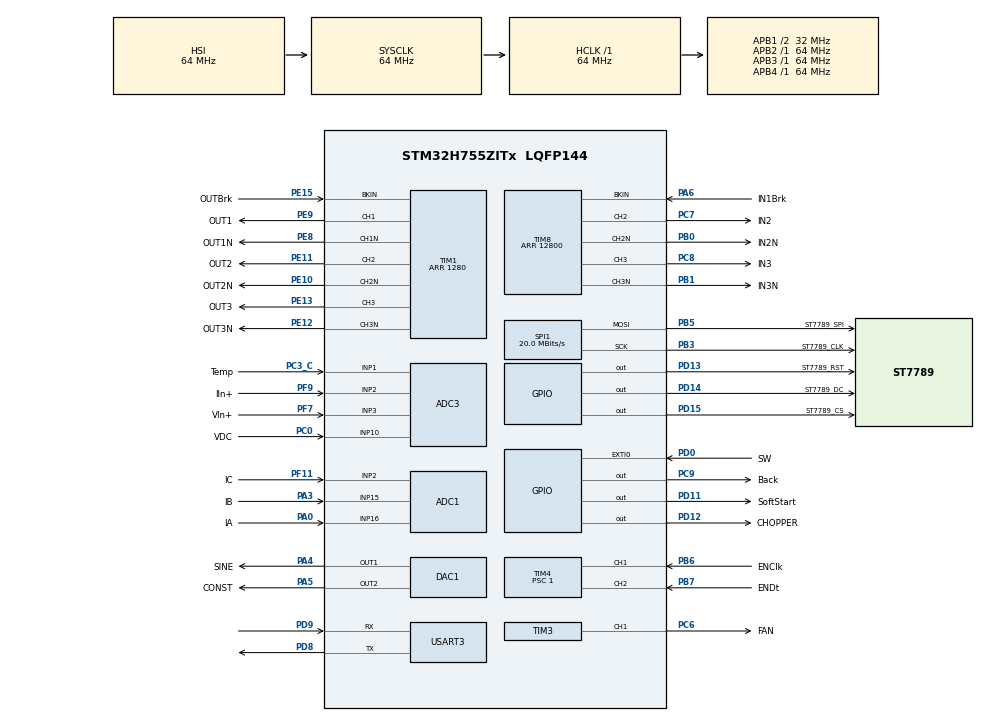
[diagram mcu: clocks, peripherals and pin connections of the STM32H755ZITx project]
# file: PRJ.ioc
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ADC1.Channel-1\#ChannelRegularConversion=ADC_CHANNEL_16
ADC1.Channel-2\#ChannelRegularConversion=ADC_CHANNEL_15
ADC1.Channel-3\#ChannelRegularConversion=ADC_CHANNEL_2
ADC1.ClockPrescalerADC3=ADC_CLOCK_ASYNC_DIV2
ADC1.ContinuousConvMode=ENABLE
ADC1.ConversionDataManagement=ADC_CONVERSIONDATA_DMA_CIRCULAR
ADC1.EOCSelection=ADC_EOC_SEQ_CONV
ADC1.ExternalTrigConv=ADC_EXTERNALTRIG_T1_TRGO
ADC1.NbrOfConversion=3
ADC1.NbrOfConversionFlag=1
ADC1.OffsetNumber-1\#ChannelRegularConversion=ADC_OFFSET_NONE
ADC1.OffsetNumber-2\#ChannelRegularConversion=ADC_OFFSET_NONE
ADC1.OffsetNumber-3\#ChannelRegularConversion=ADC_OFFSET_NONE
ADC1.OffsetSignedSaturation-1\#ChannelRegularConversion=DISABLE
ADC1.OffsetSignedSaturation-2\#ChannelRegularConversion=DISABLE
ADC1.OffsetSignedSaturation-3\#ChannelRegularConversion=DISABLE
ADC1.Overrun=ADC_OVR_DATA_OVERWRITTEN
ADC1.Rank-1\#ChannelRegularConversion=1
ADC1.Rank-2\#ChannelRegularConversion=2
ADC1.Rank-3\#ChannelRegularConversion=3
ADC1.SamplingTime-1\#ChannelRegularConversion=ADC_SAMPLETIME_810CYCLES_5
ADC1.SamplingTime-2\#ChannelRegularConversion=ADC_SAMPLETIME_810CYCLES_5
ADC1.SamplingTime-3\#ChannelRegularConversion=ADC_SAMPLETIME_810CYCLES_5
ADC1.master=1
ADC3.Channel-1\#ChannelRegularConversion=ADC_CHANNEL_3
ADC3.Channel-2\#ChannelRegularConversion=ADC_CHANNEL_2
ADC3.Channel-3\#ChannelRegularConversion=ADC_CHANNEL_10
ADC3.Channel-4\#ChannelRegularConversion=ADC_CHANNEL_1
ADC3.ClockPrescalerADC3=ADC_CLOCK_ASYNC_DIV2
ADC3.ContinuousConvMode=ENABLE
ADC3.ConversionDataManagement=ADC_CONVERSIONDATA_DMA_CIRCULAR
ADC3.EOCSelection=ADC_EOC_SEQ_CONV
ADC3.ExternalTrigConv=ADC_EXTERNALTRIG_T1_TRGO
ADC3.NbrOfConversion=4
ADC3.NbrOfConversionFlag=1
ADC3.OffsetNumber-1\#ChannelRegularConversion=ADC_OFFSET_NONE
ADC3.OffsetNumber-2\#ChannelRegularConversion=ADC_OFFSET_NONE
ADC3.OffsetNumber-3\#ChannelRegularConversion=ADC_OFFSET_NONE
ADC3.OffsetNumber-4\#ChannelRegularConversion=ADC_OFFSET_NONE
ADC3.OffsetSignedSaturation-1\#ChannelRegularConversion=DISABLE
ADC3.OffsetSignedSaturation-2\#ChannelRegularConversion=DISABLE
ADC3.OffsetSignedSaturation-3\#ChannelRegularConversion=DISABLE
ADC3.OffsetSignedSaturation-4\#ChannelRegularConversion=DISABLE
ADC3.Overrun=ADC_OVR_DATA_OVERWRITTEN
ADC3.Rank-1\#ChannelRegularConversion=1
ADC3.Rank-2\#ChannelRegularConversion=2
ADC3.Rank-3\#ChannelRegularConversion=3
ADC3.Rank-4\#ChannelRegularConversion=4
ADC3.SamplingTime-1\#ChannelRegularConversion=ADC_SAMPLETIME_810CYCLES_5
ADC3.SamplingTime-2\#ChannelRegularConversion=ADC_SAMPLETIME_810CYCLES_5
ADC3.SamplingTime-3\#ChannelRegularConversion=ADC_SAMPLETIME_810CYCLES_5
ADC3.SamplingTime-4\#ChannelRegularConversion=ADC_SAMPLETIME_810CYCLES_5
Bdma.ADC3.0.Direction=DMA_PERIPH_TO_MEMORY
Bdma.ADC3.0.EventEnable=DISABLE
Bdma.ADC3.0.Instance=BDMA_Channel0
Bdma.ADC3.0.MemDataAlignment=DMA_MDATAALIGN_HALFWORD
Bdma.ADC3.0.MemInc=DMA_MINC_ENABLE
Bdma.ADC3.0.Mode=DMA_CIRCULAR
Bdma.ADC3.0.PeriphDataAlignment=DMA_PDATAALIGN_HALFWORD
Bdma.ADC3.0.PeriphInc=DMA_PINC_DISABLE
Bdma.ADC3.0.Polarity=HAL_DMAMUX_REQ_GEN_RISING
Bdma.ADC3.0.Priority=DMA_PRIORITY_LOW
Bdma.ADC3.0.RequestNumber=1
Bdma.ADC3.0.SignalID=NONE
Bdma.ADC3.0.SyncEnable=DISABLE
Bdma.ADC3.0.SyncPolarity=HAL_DMAMUX_SYNC_NO_EVENT
Bdma.ADC3.0.SyncRequestNumber=1
Bdma.ADC3.0.SyncSignalID=NONE
Bdma.Request0=ADC3
Bdma.RequestsNb=1
CortexM4.IPs=FATFS_M4\:I,FREERTOS_M4\:I,IWDG2\:I,RCC,WWDG2\:I,DMA,BDMA,MDMA,NVIC2\:I,DEBUG,PDM2PCM_M4\:I,PWR,RESMGR_UTILITY,SYS_M4\:I,USB_DEVICE_M4\:I,USB_HOST_M4\:I,CORTEX_M4\:I,GPIO,OPENAMP_M4\:I,VREFBUF,NUCLEO-H755ZI-Q
CortexM7.IPs=FATFS_M7\:I,FREERTOS_M7\:I,IWDG1\:I,RCC\:I,WWDG1\:I,DMA\:I,BDMA\:I,MDMA\:I,NVIC1\:I,USART3\:I,SYS\:I,CORTEX_M7\:I,DEBUG\:I,PDM2PCM_M7\:I,PWR\:I,RESMGR_UTILITY\:I,USB_DEVICE_M7\:I,USB_HOST_M7\:I,GPIO\:I,OPENAMP_M7\:I,VREFBUF\:I,NUCLEO-H755ZI-Q\:I,SPI1\:I,TIM1\:I,TIM8\:I,TIM4\:I,ADC3\:I,ADC1\:I,DAC1\:I,TIM6\:I,TIM3\:I
CortexM7.Pins=PD11,PD12,PD13,PD14,PD15,PC9,PD0
DAC1.DAC_Channel-DAC_OUT1=DAC_CHANNEL_1
DAC1.DAC_Channel-DAC_OUT2=DAC_CHANNEL_2
Dma.ADC1.1.Direction=DMA_PERIPH_TO_MEMORY
Dma.ADC1.1.EventEnable=DISABLE
Dma.ADC1.1.FIFOMode=DMA_FIFOMODE_DISABLE
Dma.ADC1.1.Instance=DMA1_Stream1
Dma.ADC1.1.MemDataAlignment=DMA_MDATAALIGN_HALFWORD
Dma.ADC1.1.MemInc=DMA_MINC_ENABLE
Dma.ADC1.1.Mode=DMA_CIRCULAR
Dma.ADC1.1.PeriphDataAlignment=DMA_PDATAALIGN_HALFWORD
Dma.ADC1.1.PeriphInc=DMA_PINC_DISABLE
Dma.ADC1.1.Polarity=HAL_DMAMUX_REQ_GEN_RISING
Dma.ADC1.1.Priority=DMA_PRIORITY_LOW
Dma.ADC1.1.RequestNumber=1
Dma.ADC1.1.SignalID=NONE
Dma.ADC1.1.SyncEnable=DISABLE
Dma.ADC1.1.SyncPolarity=HAL_DMAMUX_SYNC_NO_EVENT
Dma.ADC1.1.SyncRequestNumber=1
Dma.ADC1.1.SyncSignalID=NONE
Dma.Request0=SPI1_TX
Dma.Request1=ADC1
Dma.Request2=USART3_TX
Dma.SPI1_TX.0.Direction=DMA_MEMORY_TO_PERIPH
Dma.SPI1_TX.0.EventEnable=DISABLE
Dma.SPI1_TX.0.FIFOMode=DMA_FIFOMODE_DISABLE
Dma.SPI1_TX.0.Instance=DMA1_Stream0
Dma.SPI1_TX.0.MemDataAlignment=DMA_MDATAALIGN_BYTE
Dma.SPI1_TX.0.MemInc=DMA_MINC_ENABLE
Dma.SPI1_TX.0.Mode=DMA_NORMAL
Dma.SPI1_TX.0.PeriphDataAlignment=DMA_PDATAALIGN_BYTE
Dma.SPI1_TX.0.PeriphInc=DMA_PINC_DISABLE
Dma.SPI1_TX.0.Polarity=HAL_DMAMUX_REQ_GEN_RISING
Dma.SPI1_TX.0.Priority=DMA_PRIORITY_LOW
Dma.SPI1_TX.0.RequestNumber=1
Dma.SPI1_TX.0.SignalID=NONE
Dma.SPI1_TX.0.SyncEnable=DISABLE
Dma.SPI1_TX.0.SyncPolarity=HAL_DMAMUX_SYNC_NO_EVENT
Dma.SPI1_TX.0.SyncRequestNumber=1
Dma.SPI1_TX.0.SyncSignalID=NONE
Dma.USART3_TX.2.Direction=DMA_MEMORY_TO_PERIPH
Dma.USART3_TX.2.EventEnable=DISABLE
Dma.USART3_TX.2.FIFOMode=DMA_FIFOMODE_DISABLE
Dma.USART3_TX.2.Instance=DMA1_Stream2
Dma.USART3_TX.2.MemDataAlignment=DMA_MDATAALIGN_BYTE
Dma.USART3_TX.2.MemInc=DMA_MINC_ENABLE
Dma.USART3_TX.2.Mode=DMA_NORMAL
Dma.USART3_TX.2.PeriphDataAlignment=DMA_PDATAALIGN_BYTE
Dma.USART3_TX.2.PeriphInc=DMA_PINC_DISABLE
Dma.USART3_TX.2.Polarity=HAL_DMAMUX_REQ_GEN_RISING
Dma.USART3_TX.2.Priority=DMA_PRIORITY_LOW
Dma.USART3_TX.2.RequestNumber=1
Dma.USART3_TX.2.SignalID=NONE
Dma.USART3_TX.2.SyncEnable=DISABLE
Dma.USART3_TX.2.SyncPolarity=HAL_DMAMUX_SYNC_NO_EVENT
Dma.USART3_TX.2.SyncRequestNumber=1
Dma.USART3_TX.2.SyncSignalID=NONE
Mcu.Family=STM32H7
Mcu.Name=STM32H755ZITx
Mcu.Package=LQFP144
NVIC1.BDMA_Channel0_IRQn=true\:0\:0\:false\:false\:true\:false\:true\:true
NVIC1.DMA1_Stream0_IRQn=true\:0\:0\:false\:false\:true\:false\:true\:true
NVIC1.DMA1_Stream1_IRQn=true\:0\:0\:false\:false\:true\:false\:true\:true
NVIC1.DMA1_Stream2_IRQn=true\:0\:0\:false\:false\:true\:false\:true\:true
NVIC1.EXTI0_IRQn=true\:0\:0\:false\:false\:true\:true\:true\:true
NVIC1.PriorityGroup=NVIC_PRIORITYGROUP_4
NVIC1.SPI1_IRQn=true\:5\:0\:true\:false\:true\:false\:true\:true
NVIC1.TIM1_BRK_IRQn=true\:0\:0\:false\:false\:true\:true\:true\:true
NVIC1.TIM1_UP_IRQn=true\:0\:0\:false\:false\:true\:true\:true\:true
NVIC1.TIM4_IRQn=true\:0\:0\:false\:false\:true\:true\:true\:true
NVIC1.TIM8_BRK_TIM12_IRQn=true\:0\:0\:false\:false\:true\:true\:true\:true
NVIC1.USART3_IRQn=true\:0\:0\:false\:false\:true\:true\:true\:true
NVIC2.PriorityGroup=NVIC_PRIORITYGROUP_4
PA0.GPIO_Label=IA
PA0.Mode=IN16-Single-Ended
PA0.PinAttribute=CortexM7
PA0.Signal=ADC1_INP16
PA3.GPIO_Label=IB
PA3.PinAttribute=CortexM7
PA3.Signal=ADCx_INP15
PA4.GPIO_Label=SINE
PA4.PinAttribute=CortexM7
PA4.Signal=COMP_DAC11_group
PA5.GPIO_Label=CONST
PA5.PinAttribute=CortexM7
PA5.Signal=COMP_DAC12_group
PA6.GPIO_Label=IN1Brk
PA6.GPIO_Mode=GPIO_MODE_AF_OD
PA6.GPIO_PuPd=GPIO_PULLUP
PA6.Mode=Activate-Break-Input
PA6.PinAttribute=CortexM7
PA6.Signal=TIM8_BKIN
PB0.GPIO_Label=IN2N
PB0.GPIO_PuPd=GPIO_PULLUP
PB0.GPIO_Speed=GPIO_SPEED_FREQ_VERY_HIGH
PB0.Mode=PWM Generation2 CH2 CH2N
PB0.PinAttribute=CortexM7
PB0.Signal=TIM8_CH2N
PB1.GPIO_Label=IN3N
PB1.GPIO_ModeDefaultPP=GPIO_MODE_AF_OD
PB1.GPIO_PuPd=GPIO_PULLUP
PB1.GPIO_Speed=GPIO_SPEED_FREQ_VERY_HIGH
PB1.Mode=PWM Generation3 CH3 CH3N
PB1.PinAttribute=CortexM7
PB1.Signal=TIM8_CH3N
PB3\ (JTDO/TRACESWO).GPIO_Label=ST7789_CLK
PB3\ (JTDO/TRACESWO).Mode=TX_Only_Simplex_Unidirect_Master
PB3\ (JTDO/TRACESWO).PinAttribute=CortexM7
PB3\ (JTDO/TRACESWO).Signal=SPI1_SCK
PB5.GPIO_Label=ST7789_SPI
PB5.GPIO_Mode=GPIO_MODE_AF_PP
PB5.Mode=TX_Only_Simplex_Unidirect_Master
PB5.PinAttribute=CortexM7
PB5.Signal=SPI1_MOSI
PB6.GPIO_Label=ENClk
PB6.PinAttribute=CortexM7
PB6.Signal=S_TIM4_CH1
PB7.GPIO_Label=ENDt
PB7.PinAttribute=CortexM7
PB7.Signal=S_TIM4_CH2
PC0.GPIO_Label=VDC
PC0.PinAttribute=CortexM7
PC0.Signal=ADCx_INP10
PC3_C.GPIO_Label=Temp
PC3_C.Mode=IN1-Single-Ended
PC3_C.PinAttribute=CortexM7
PC3_C.Signal=ADC3_INP1
PC6.GPIO_Label=FAN
PC6.GPIO_ModeDefaultPP=GPIO_MODE_AF_PP
PC6.PinAttribute=CortexM7
PC6.Signal=S_TIM3_CH1
PC7.GPIO_Label=IN2
PC7.GPIO_ModeDefaultPP=GPIO_MODE_AF_OD
PC7.GPIO_PuPd=GPIO_PULLUP
PC7.GPIO_Speed=GPIO_SPEED_FREQ_VERY_HIGH
PC7.PinAttribute=CortexM7
PC7.Signal=S_TIM8_CH2
PC8.GPIO_Label=IN3
PC8.GPIO_ModeDefaultPP=GPIO_MODE_AF_OD
PC8.GPIO_PuPd=GPIO_PULLUP
PC8.GPIO_Speed=GPIO_SPEED_FREQ_VERY_HIGH
PC8.PinAttribute=CortexM7
PC8.Signal=S_TIM8_CH3
PC9.GPIO_Label=Back
PC9.PinAttribute=CortexM7
PC9.Signal=GPIO_Output
PD0.GPIO_Label=SW
PD0.GPIO_ModeDefaultEXTI=GPIO_MODE_IT_FALLING
PD0.GPIO_PuPd=GPIO_PULLUP
PD0.PinAttribute=CortexM7
PD0.Signal=GPXTI0
PD11.GPIO_Label=SoftStart
PD11.PinAttribute=CortexM7
PD11.Signal=GPIO_Output
PD12.GPIO_Label=CHOPPER
PD12.PinAttribute=CortexM7
PD12.Signal=GPIO_Output
PD13.GPIO_Label=ST7789_RST
PD13.PinAttribute=CortexM7
PD13.Signal=GPIO_Output
PD14.GPIO_Label=ST7789_DC
PD14.GPIO_Speed=GPIO_SPEED_FREQ_VERY_HIGH
PD14.PinAttribute=CortexM7
PD14.Signal=GPIO_Output
PD15.GPIO_Label=ST7789_CS
PD15.GPIO_Speed=GPIO_SPEED_FREQ_VERY_HIGH
PD15.PinAttribute=CortexM7
PD15.Signal=GPIO_Output
PD8.Mode=Asynchronous
PD8.PinAttribute=CortexM7
PD8.Signal=USART3_TX
PD9.Mode=Asynchronous
PD9.PinAttribute=CortexM7
PD9.Signal=USART3_RX
PE10.GPIO_Label=OUT2N
PE10.GPIO_ModeDefaultPP=GPIO_MODE_AF_OD
PE10.GPIO_PuPd=GPIO_PULLUP
PE10.GPIO_Speed=GPIO_SPEED_FREQ_VERY_HIGH
PE10.Mode=PWM Generation2 CH2 CH2N
PE10.PinAttribute=CortexM7
PE10.Signal=TIM1_CH2N
PE11.GPIO_Label=OUT2
PE11.GPIO_ModeDefaultPP=GPIO_MODE_AF_OD
PE11.GPIO_PuPd=GPIO_PULLUP
PE11.GPIO_Speed=GPIO_SPEED_FREQ_VERY_HIGH
PE11.PinAttribute=CortexM7
PE11.Signal=S_TIM1_CH2
PE12.GPIO_Label=OUT3N
PE12.GPIO_ModeDefaultPP=GPIO_MODE_AF_OD
PE12.GPIO_PuPd=GPIO_PULLUP
PE12.GPIO_Speed=GPIO_SPEED_FREQ_VERY_HIGH
PE12.Mode=PWM Generation3 CH3 CH3N
PE12.PinAttribute=CortexM7
PE12.Signal=TIM1_CH3N
PE13.GPIO_Label=OUT3
PE13.GPIO_ModeDefaultPP=GPIO_MODE_AF_OD
PE13.GPIO_PuPd=GPIO_PULLUP
PE13.GPIO_Speed=GPIO_SPEED_FREQ_VERY_HIGH
PE13.PinAttribute=CortexM7
PE13.Signal=S_TIM1_CH3
PE15.GPIO_Label=OUTBrk
PE15.GPIO_PuPd=GPIO_PULLUP
PE15.Mode=Activate-Break-Input
PE15.PinAttribute=CortexM7
PE15.Signal=TIM1_BKIN
PE8.GPIO_Label=OUT1N
PE8.GPIO_ModeDefaultPP=GPIO_MODE_AF_OD
PE8.GPIO_PuPd=GPIO_PULLUP
PE8.GPIO_Speed=GPIO_SPEED_FREQ_VERY_HIGH
PE8.Mode=PWM Generation1 CH1 CH1N
PE8.PinAttribute=CortexM7
PE8.Signal=TIM1_CH1N
PE9.GPIO_Label=OUT1
PE9.GPIO_ModeDefaultPP=GPIO_MODE_AF_OD
PE9.GPIO_PuPd=GPIO_PULLUP
PE9.GPIO_Speed=GPIO_SPEED_FREQ_VERY_HIGH
PE9.PinAttribute=CortexM7
PE9.Signal=S_TIM1_CH1
PF11.GPIO_Label=IC
PF11.Mode=IN2-Single-Ended
PF11.PinAttribute=CortexM7
PF11.Signal=ADC1_INP2
PF7.GPIO_Label=VIn+
PF7.Mode=IN3-Single-Ended
PF7.PinAttribute=CortexM7
PF7.Signal=ADC3_INP3
PF9.GPIO_Label=IIn+
PF9.Mode=IN2-Single-Ended
PF9.PinAttribute=CortexM7
PF9.Signal=ADC3_INP2
ProjectManager.HeapSize=M4-0x200,M7-0x200
ProjectManager.StackSize=M4-0x400,M7-0x400
ProjectManager.TargetToolchain=STM32CubeIDE
RCC.ADCFreq_Value=80000000
RCC.APB1Freq_Value=32000000
RCC.APB2Freq_Value=64000000
RCC.APB3Freq_Value=64000000
RCC.APB4Freq_Value=64000000
RCC.CortexFreq_Value=64000000
RCC.D2PPRE1=RCC_APB1_DIV2
RCC.DIVM1=4
RCC.DIVM2=4
RCC.DIVN1=10
RCC.DIVN2=10
RCC.HCLKFreq_Value=64000000
RCC.PLL2FRACN=0
RCC.PLL3FRACN=0
RCC.PLLFRACN=0
RCC.SYSCLKFreq_VALUE=64000000
RCC.SupplySource=PWR_DIRECT_SMPS_SUPPLY
RCC.USBFreq_Value=80000000
SH.ADCx_INP10.0=ADC3_INP10,IN10-Single-Ended
SH.ADCx_INP10.1=ADC1_INP10
SH.ADCx_INP15.0=ADC1_INP15,IN15-Single-Ended
SH.COMP_DAC11_group.0=DAC1_OUT1,DAC_OUT1
SH.COMP_DAC12_group.0=DAC1_OUT2,DAC_OUT2
SH.S_TIM1_CH1.0=TIM1_CH1,PWM Generation1 CH1 CH1N
SH.S_TIM1_CH2.0=TIM1_CH2,PWM Generation2 CH2 CH2N
SH.S_TIM1_CH3.0=TIM1_CH3,PWM Generation3 CH3 CH3N
SH.S_TIM3_CH1.0=TIM3_CH1,PWM Generation1 CH1
SH.S_TIM4_CH1.0=TIM4_CH1,Encoder_Interface
SH.S_TIM4_CH2.0=TIM4_CH2,Encoder_Interface
SH.S_TIM8_CH2.0=TIM8_CH2,PWM Generation2 CH2 CH2N
SH.S_TIM8_CH3.0=TIM8_CH3,PWM Generation3 CH3 CH3N
SPI1.BaudRatePrescaler=SPI_BAUDRATEPRESCALER_4
SPI1.CLKPhase=SPI_PHASE_2EDGE
SPI1.CLKPolarity=SPI_POLARITY_HIGH
SPI1.CalculateBaudRate=20.0 MBits/s
SPI1.DataSize=SPI_DATASIZE_8BIT
SPI1.Direction=SPI_DIRECTION_2LINES_TXONLY
SPI1.Mode=SPI_MODE_MASTER
SPI1.VirtualType=VM_MASTER
TIM1.Break2Polarity=TIM_BREAK2POLARITY_LOW
TIM1.Break2State=TIM_BREAK2_DISABLE
TIM1.BreakPolarity=TIM_BREAKPOLARITY_HIGH
TIM1.BreakState=TIM_BREAK_ENABLE
TIM1.Channel-PWM\ Generation1\ CH1\ CH1N=TIM_CHANNEL_1
TIM1.Channel-PWM\ Generation2\ CH2\ CH2N=TIM_CHANNEL_2
TIM1.Channel-PWM\ Generation3\ CH3\ CH3N=TIM_CHANNEL_3
TIM1.CounterMode=TIM_COUNTERMODE_CENTERALIGNED1
TIM1.DeadTime=100
TIM1.Period=1280
TIM1.SourceBRKDigInputPolarity=TIM_BREAKINPUTSOURCE_POLARITY_LOW
TIM1.TIM_MasterOutputTrigger=TIM_TRGO_UPDATE
TIM1.TIM_MasterSlaveMode=TIM_MASTERSLAVEMODE_ENABLE
TIM3.Channel-PWM\ Generation1\ CH1=TIM_CHANNEL_1
TIM3.Period=1280
TIM4.AutoReloadPreload=TIM_AUTORELOAD_PRELOAD_ENABLE
TIM4.EncoderMode=TIM_ENCODERMODE_TI12
TIM4.IC1Filter=15
TIM4.IC2Filter=15
TIM4.Period=2559
TIM4.Prescaler=1
TIM6.Period=999
TIM6.Prescaler=63
TIM6.TIM_MasterOutputTrigger=TIM_TRGO_UPDATE
TIM8.Break2Polarity=TIM_BREAK2POLARITY_LOW
TIM8.Break2State=TIM_BREAK2_DISABLE
TIM8.BreakPolarity=TIM_BREAKPOLARITY_HIGH
TIM8.BreakState=TIM_BREAK_ENABLE
TIM8.Channel-PWM\ Generation2\ CH2\ CH2N=TIM_CHANNEL_2
TIM8.Channel-PWM\ Generation3\ CH3\ CH3N=TIM_CHANNEL_3
TIM8.CounterMode=TIM_COUNTERMODE_CENTERALIGNED1
TIM8.DeadTime=100
TIM8.Period=12800
TIM8.SourceBRKDigInputPolarity=TIM_BREAKINPUTSOURCE_POLARITY_LOW
USART3.VirtualMode-Asynchronous=VM_ASYNC
VP_SYS_M4_VS_Systick.Mode=SysTick
VP_TIM6_VS_ClockSourceINT.Mode=Enable_Timer
board=NUCLEO-H755ZI-Q

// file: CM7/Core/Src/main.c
/* USER CODE BEGIN Header */
/******************************************************************************
 * @file           : Arquitetura_Projeto.txt / main.c
 * @brief          : Controlo Digital de Variador de Velocidade e Retificador AFE
 * @author         : Nuno Costa (a107069) e Afonso Carvalho (a107058)
 * @institution    : Universidade do Minho
 * @date           : Junho de 2026
 * * @description    :
 * Este projeto implementa o controlo digital em tempo real (25 kHz) de um
 * motor trifásico usando a técnica SPWM e curva V/f constante, alimentado
 * por um Retificador Ativo (AFE - Active Front End) com controlo de histerese.
 * O sistema opera num STM32H7 e conta ainda com telemetria SCADA, Interface
 * local e um Simulador incorporado.
 *
 * * ============================================================================
 * ESTRUTURA DE FICHEIROS E MÓDULOS
 * ============================================================================
 * * [ CORE ]
 * > main.c / main.h
 * Gere a máquina de estados principal, inicializa os
 * periféricos e implementa os três domínios de tempo de execução:
 * - Prioridade Máxima: Interrupções de segurança e paragem de emergência.
 * - 25 kHz (Tempo Real): Controlo físico de potência, processamento ADC e algoritmos PI.
 * - 10 Hz (Assíncrono): Atualização de ecrã e transmissão de telemetria.
 *
 * * [ POTÊNCIA E CONTROLO ]
 * > PWM.c / PWM.h
 * Módulo de Eletrónica de Potência. Executa a malha PLL (Phase-Locked Loop),
 * o controlo PI de tensão do barramento DC e o controlo de corrente
 * (histerese) do AFE. Gera a modulação SPWM trifásica defasada a 120º e a rampa
 * de aceleração para o inversor do motor.
 *
 * * [ SENSORES E SINAIS ]
 * > DD_ADC.c / DD_ADC.h
 * Device Driver de Abstração de Hardware. Gere o mapeamento de memória SRAM
 * específico do hardware (D2/D3) e a transferência direta de memória (DMA e BDMA)
 * dos conversores ADC1 e ADC3.
 * * > SENSE.c / SENSE.h
 * Módulo de Processamento de Sinal. Converte os valores RAW dos conversores
 * em grandezas físicas reais (Volts, Amperes, Celsius) e processa os
 * cálculos True RMS (janela de 20ms). Age como intermediário para a injeção
 * de dados do simulador.
 *
 * * [ INTERFACE E TELEMETRIA ]
 * > PANEL.c / PANEL.h
 * Human-Machine Interface (HMI). Controla o ecrã ST7789 via comunicação
 * SPI e gere a navegação das tabs de interface e edição de setpoints através
 * de um Encoder Rotativo com debounce de hardware.
 * * > INTER.c / INTER.h
 * Módulo de Comunicação. Compila a telemetria completa do sistema num
 * formato JSON otimizado e gere o envio não-bloqueante dos pacotes via
 * UART/DMA para o *dashboard* Node-RED.
 *
 * * [ VALIDAÇÃO E TESTE ]
 * > SIMUL.c / SIMUL.h
 * Hardware-in-the-Loop (Digital Twin). Emula matematicamente a impedância da
 * rede elétrica, a resposta física do condensador do barramento DC e o consumo
 * indutivo do motor. Injeta os sinais virtuais via DAC e no código para validação
 * do controlo sem potência real aplicada.
 * ******************************************************************************/
/* USER CODE END Header */
#include "main.h"
#include "adc.h"
#include "bdma.h"
#include "dac.h"
#include "dma.h"
#include "spi.h"
#include "tim.h"
#include "usart.h"
#include "gpio.h"

/* USER CODE BEGIN Includes */
//--------------------------------------------------------------------------
#include <stdio.h>
#include <string.h>
#include "st7789.h"
#include "PWM.h"
#include "SENSE.h"
#include "SIMUL.h"
#include "INTER.h"
#include "PANEL.h"
//--------------------------------------------------------------------------
/* USER CODE END Includes */

/* USER CODE BEGIN PD */

#ifndef HSEM_ID_0
#define HSEM_ID_0 (0U) /* HW semaphore 0*/
#endif

/* USER CODE END PD */

void SystemClock_Config(void);
void PeriphCommonClock_Config(void);

/* USER CODE BEGIN 0 */
//--------------------------------------------------------------------------
/* Variáveis de Máquina de Estados Global */
volatile uint8_t afe_user_enable = 0;
volatile uint8_t afe_control_enable = 0;
volatile uint8_t afe_control_stage = 0;

volatile int tim = 0;
volatile int Emerg = 0;

int system_fault = 0;
int fault_source = 0;
volatile uint8_t inverter_enable = 0;
//--------------------------------------------------------------------------
/* USER CODE END 0 */

int main(void)
{

/* USER CODE BEGIN Boot_Mode_Sequence_0 */
  int32_t timeout;
/* USER CODE END Boot_Mode_Sequence_0 */

/* USER CODE BEGIN Boot_Mode_Sequence_1 */
  /* Wait until CPU2 boots and enters in stop mode or timeout*/
  timeout = 0xFFFF;
  while((__HAL_RCC_GET_FLAG(RCC_FLAG_D2CKRDY) != RESET) && (timeout-- > 0));
  if ( timeout < 0 )
  {
  Error_Handler();
  }
/* USER CODE END Boot_Mode_Sequence_1 */
  /* MCU Configuration--------------------------------------------------------*/

  /* Reset of all peripherals, Initializes the Flash interface and the Systick. */
  HAL_Init();

  /* Configure the system clock */
  SystemClock_Config();

  /* Configure the peripherals common clocks */
  PeriphCommonClock_Config();
/* USER CODE BEGIN Boot_Mode_Sequence_2 */
/* When system initialization is finished, Cortex-M7 will release Cortex-M4 by means of
HSEM notification */
/*HW semaphore Clock enable*/
__HAL_RCC_HSEM_CLK_ENABLE();
/*Take HSEM */
HAL_HSEM_FastTake(HSEM_ID_0);
/*Release HSEM in order to notify the CPU2(CM4)*/
HAL_HSEM_Release(HSEM_ID_0,0);
/* wait until CPU2 wakes up from stop mode */
timeout = 0xFFFF;
while((__HAL_RCC_GET_FLAG(RCC_FLAG_D2CKRDY) == RESET) && (timeout-- > 0));
if ( timeout < 0 )
{
Error_Handler();
}
/* USER CODE END Boot_Mode_Sequence_2 */

  /* Initialize all configured peripherals */
  MX_GPIO_Init();
  MX_DMA_Init();
  MX_BDMA_Init();
  MX_SPI1_Init();
  MX_USART3_UART_Init();
  MX_TIM1_Init();
  MX_TIM4_Init();
  MX_ADC3_Init();
  MX_TIM8_Init();
  MX_DAC1_Init();
  MX_ADC1_Init();
  MX_TIM6_Init();
  MX_TIM3_Init();
  /* USER CODE BEGIN 2 */
  //--------------------------------------------------------------------------
  /* Arranque Seguro Sequencial dos Sistemas Próprios */
  Panel_Init_Sequence();          // Lança a Interface Humana
  Sense_Init_DMA(&hadc1, &hadc3); // Lança o cérebro de Sensoreamento DMA
  DacSim_Init(&hdac1);            // Instancia os modelos de simulação na placa
  PWM_Start_All();                // Energiza todos os módulos de sinal PWM
  //--------------------------------------------------------------------------
  /* USER CODE END 2 */

  /* Infinite loop */
  /* USER CODE BEGIN WHILE */
  while (1)
    {
	  /* =========================================================
		 DOM�?NIO 1: ALARME E INTERRUPÇÕES F�?SICAS (Prioridade 1)
		 ========================================================= */
	  if (Emerg) {
		  PWM_Emergency_Stop();
		  PWM_AFE_PWM_Kill();
		  PWM_Set_Main_Contactor(0); // Abre a rede
		  system_fault = 1;
		  fault_source = 3; // O hardware ativou o BKIN

		  /* Cortar e desligar lógica humana */
		  afe_user_enable = 0;
		  afe_control_enable = 0;
		  afe_control_stage = 0;

		  Emerg = 0; // Desarma flag da interrupção
	  }

	  /* =========================================================
		 DOM�?NIO 2: TEMPO REAL 25 kHz (Prioridade 2)
		 ========================================================= */
	  if (tim) {
		  /* 1. Ciclo Físico -> Virtual -> Sensorial -> Defesa */
		  DacSim_Update_Grid_DC(&hdac1);
		  Simul_Update_Motor_Currents();
		  Sense_Process_Data();
		  Check_Safety();

		  /* 2. Passagem do mundo real para o espaço matemático */
		  float v_pg = Sense_Get_V_Grid_Inst();
		  float i_pg = Sense_Get_I_Grid_Inst();
		  float v_cc = Sense_Get_V_DC_Link();

		  PWM_AFE_Process_Background_Math(v_pg, v_cc); // Processamento passivo contínuo

		  /* 3. Máquina de Estados do Retificador (AFE Control) */
		  switch(afe_control_stage){
			  case 0: // STANDBY (DESCARGA DE SEGURANÇA)
				  HAL_GPIO_WritePin(SoftStart_GPIO_Port, SoftStart_Pin, GPIO_PIN_RESET);
				  PWM_AFE_PWM_Kill();
				  inverter_enable = 0;
				  PWM_Inverter_Update(0); // Força desligamento do Inversor
				  PWM_Set_Main_Contactor(0); // Abre a rede

				  if (afe_user_enable) afe_control_stage = 1; // Ativação pelo UI
				  break;

			  case 1: // PRÉ-CARGA (CONTROLO TÉRMICO)
			  	  system_fault = 0;
			  	  // 1. Fecha o contactor principal da rede (se ainda não estiver fechado)
			  	  PWM_Set_Main_Contactor(1);
  				  // 2. Executa a lógica que verifica a tensão e fecha o relé de Soft-Start
  				  PWM_Handle_SoftStart_Sequence(v_cc);
  				  // 3. Verifica se a tensão já atingiu o patamar seguro para avançar a máquina de estados
  				  if (v_cc > 35.0f) {
  					  afe_control_stage = 2; // Passa ao controlo de potência final
  				  }
  				  if (!afe_user_enable) {
                        PWM_Set_Main_Contactor(0); // Abre a rede se o utilizador desistir
                        afe_control_stage = 0;
                    }
  				  break;

			  case 2: // RETIFICAÇÃO ATIVA E DESPACHO
				  if (afe_control_enable) {
					  PWM_AFE_Run_PI_and_Hysteresis(i_pg);
					  PWM_Inverter_Update(inverter_enable); // Depende da UI do Inversor
				  } else {
					  PWM_AFE_PWM_Kill();
					  inverter_enable = 0;
					  PWM_Inverter_Update(0);
					  PWM_Set_Main_Contactor(0); // Abre a rede
				  }

				  if (!afe_user_enable && !afe_control_enable) afe_control_stage = 0;
				  break;
		  }
		  tim = 0; // Sinaliza fim de processamento do ciclo temporal
	  }

	  /* =========================================================
		 DOM�?NIO 3: INTERFACE E TELEMETRIA (10 Hz)
		 ========================================================= */
	  static uint32_t last_update = 0;

	  if (HAL_GetTick() - last_update > 100) // Delay não-bloqueante
	  {
		 last_update = HAL_GetTick();
		 Panel_Update_UI(system_fault);
		 Update_Interface(&huart3);

		 float temp_atual = Sense_Get_Heatsink_Temp();
		 PWM_Update_Cooling_Fan(temp_atual);
	  }
    /* USER CODE END WHILE */

  }
}

void SystemClock_Config(void)
{
  RCC_OscInitTypeDef RCC_OscInitStruct = {0};
  RCC_ClkInitTypeDef RCC_ClkInitStruct = {0};

  /** Supply configuration update enable
  */
  HAL_PWREx_ConfigSupply(PWR_DIRECT_SMPS_SUPPLY);

  /** Configure the main internal regulator output voltage
  */
  __HAL_PWR_VOLTAGESCALING_CONFIG(PWR_REGULATOR_VOLTAGE_SCALE3);

  while(!__HAL_PWR_GET_FLAG(PWR_FLAG_VOSRDY)) {}

  /** Initializes the RCC Oscillators according to the specified parameters
  * in the RCC_OscInitTypeDef structure.
  */
  RCC_OscInitStruct.OscillatorType = RCC_OSCILLATORTYPE_HSI;
  RCC_OscInitStruct.HSIState = RCC_HSI_DIV1;
  RCC_OscInitStruct.HSICalibrationValue = RCC_HSICALIBRATION_DEFAULT;
  RCC_OscInitStruct.PLL.PLLState = RCC_PLL_ON;
  RCC_OscInitStruct.PLL.PLLSource = RCC_PLLSOURCE_HSI;
  RCC_OscInitStruct.PLL.PLLM = 4;
  RCC_OscInitStruct.PLL.PLLN = 10;
  RCC_OscInitStruct.PLL.PLLP = 2;
  RCC_OscInitStruct.PLL.PLLQ = 2;
  RCC_OscInitStruct.PLL.PLLR = 2;
  RCC_OscInitStruct.PLL.PLLRGE = RCC_PLL1VCIRANGE_3;
  RCC_OscInitStruct.PLL.PLLVCOSEL = RCC_PLL1VCOMEDIUM;
  RCC_OscInitStruct.PLL.PLLFRACN = 0;
  if (HAL_RCC_OscConfig(&RCC_OscInitStruct) != HAL_OK)
  {
    Error_Handler();
  }

  /** Initializes the CPU, AHB and APB buses clocks
  */
  RCC_ClkInitStruct.ClockType = RCC_CLOCKTYPE_HCLK|RCC_CLOCKTYPE_SYSCLK
                              |RCC_CLOCKTYPE_PCLK1|RCC_CLOCKTYPE_PCLK2
                              |RCC_CLOCKTYPE_D3PCLK1|RCC_CLOCKTYPE_D1PCLK1;
  RCC_ClkInitStruct.SYSCLKSource = RCC_SYSCLKSOURCE_HSI;
  RCC_ClkInitStruct.SYSCLKDivider = RCC_SYSCLK_DIV1;
  RCC_ClkInitStruct.AHBCLKDivider = RCC_HCLK_DIV1;
  RCC_ClkInitStruct.APB3CLKDivider = RCC_APB3_DIV1;
  RCC_ClkInitStruct.APB1CLKDivider = RCC_APB1_DIV2;
  RCC_ClkInitStruct.APB2CLKDivider = RCC_APB2_DIV1;
  RCC_ClkInitStruct.APB4CLKDivider = RCC_APB4_DIV1;

  if (HAL_RCC_ClockConfig(&RCC_ClkInitStruct, FLASH_LATENCY_1) != HAL_OK)
  {
    Error_Handler();
  }
}

void PeriphCommonClock_Config(void)
{
  RCC_PeriphCLKInitTypeDef PeriphClkInitStruct = {0};

  /** Initializes the peripherals clock
  */
  PeriphClkInitStruct.PeriphClockSelection = RCC_PERIPHCLK_ADC;
  PeriphClkInitStruct.PLL2.PLL2M = 4;
  PeriphClkInitStruct.PLL2.PLL2N = 10;
  PeriphClkInitStruct.PLL2.PLL2P = 2;
  PeriphClkInitStruct.PLL2.PLL2Q = 2;
  PeriphClkInitStruct.PLL2.PLL2R = 2;
  PeriphClkInitStruct.PLL2.PLL2RGE = RCC_PLL2VCIRANGE_3;
  PeriphClkInitStruct.PLL2.PLL2VCOSEL = RCC_PLL2VCOMEDIUM;
  PeriphClkInitStruct.PLL2.PLL2FRACN = 0;
  PeriphClkInitStruct.AdcClockSelection = RCC_ADCCLKSOURCE_PLL2;
  if (HAL_RCCEx_PeriphCLKConfig(&PeriphClkInitStruct) != HAL_OK)
  {
    Error_Handler();
  }
}

/* USER CODE BEGIN 4 */
//--------------------------------------------------------------------------
/* Interrupção Base do Sistema de Tempo (25 kHz via TIM1) */
void HAL_TIM_PeriodElapsedCallback(TIM_HandleTypeDef *htim) {
    if (htim->Instance == TIM1)
    	tim = 1;
}

/* Interrupção Assíncrona de Falha Eletrónica (Falha Ativa em Nível Lógico) */
void HAL_TIMEx_BreakCallback(TIM_HandleTypeDef *htim) {
    if (htim->Instance == TIM1 || htim->Instance == TIM8)
    	Emerg = 1;
}
//--------------------------------------------------------------------------
/* USER CODE END 4 */

void Error_Handler(void)
{
  __disable_irq();
  while (1)
  {
  }
}
